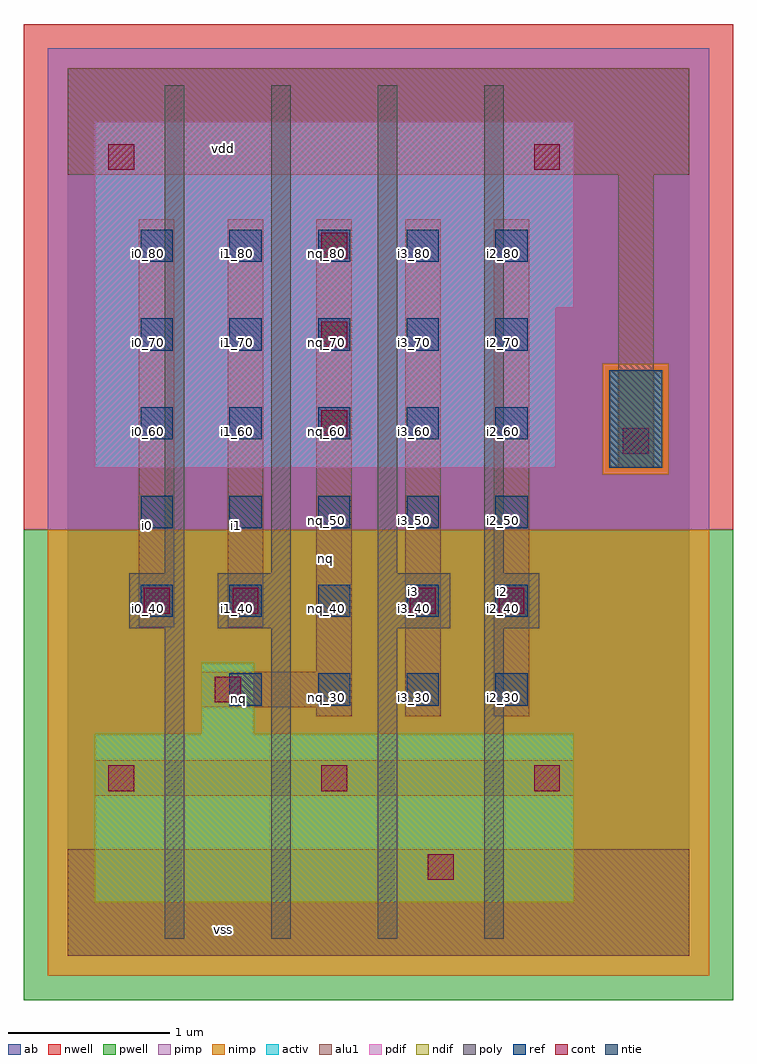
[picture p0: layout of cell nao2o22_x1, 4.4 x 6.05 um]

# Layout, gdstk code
import gdstk
lib = gdstk.Library(unit=1e-6, precision=2.5e-09)
def R(c, l, rs):  # rectangles x0, y0, x1, y1
    for r in rs: c.add(gdstk.rectangle(r[:2], r[2:], *l))
def A(c, l, x, y, w, h, nx, ny, dx, dy):  # array of equal rectangles
    R(c, l, [(x+i*dx, y+j*dy, x+i*dx+w, y+j*dy+h) for i in range(nx) for j in range(ny)])
ndif = (3, 0)
pdif = (4, 0)
ntie = (5, 0)
ref = (24, 0)
cont = (25, 0)
pwell = (41, 0)
nwell = (42, 0)
activ = (43, 0)
pimp = (44, 0)
nimp = (45, 0)
poly = (46, 0)
alu1 = (49, 0)
ab = (63, 0)

nao2o22_x1 = lib.new_cell('nao2o22_x1')
R(nao2o22_x1, ndif, [(0.165,0.33,3.135,1.375), (0.825,1.375,1.155,1.815)])
R(nao2o22_x1, pdif, [(0.165,3.025,3.025,4.015), (0.165,4.015,3.135,5.17)])
R(nao2o22_x1, ntie, [(3.355,3.025,3.685,3.63)])
A(nao2o22_x1, ref, 1, 1.55, 0.2, 0.2, 4, 1, 0.55, 0)
A(nao2o22_x1, ref, 0.45, 2.1, 0.2, 0.2, 5, 5, 0.55, 0.55)
A(nao2o22_x1, cont, 0.25, 1.02, 0.16, 0.16, 3, 1, 1.32, 0)
A(nao2o22_x1, cont, 1.57, 3.22, 0.16, 0.16, 1, 3, 0, 0.55)
R(nao2o22_x1, cont, [(2.23,0.47,2.39,0.63), (0.91,1.57,1.07,1.73), (0.47,2.12,0.63,2.28), (1.02,2.12,1.18,2.28), (2.12,2.12,2.28,2.28), (2.67,2.12,2.83,2.28), (3.44,3.11,3.6,3.27), (0.25,4.87,0.41,5.03), (2.89,4.87,3.05,5.03)])
R(nao2o22_x1, pwell, [(-0.275,-0.275,4.125,2.64)])
R(nao2o22_x1, nwell, [(-0.275,2.64,4.125,5.775)])
R(nao2o22_x1, activ, [(0.165,0.33,3.135,1.375), (0.825,1.375,1.155,1.815), (0.165,3.025,3.025,4.015), (3.355,3.025,3.685,3.63), (0.165,4.015,3.135,5.17)])
R(nao2o22_x1, pimp, [(-0.125,2.64,3.975,2.985), (-0.125,2.985,3.315,3.67), (3.725,2.985,3.975,3.67), (-0.125,3.67,3.975,5.625)])
R(nao2o22_x1, nimp, [(-0.125,-0.125,3.975,2.64), (3.315,2.985,3.725,3.67)])
A(nao2o22_x1, poly, 0.6, 0.105, 0.12, 1.925, 4, 1, 0.66, 0)
A(nao2o22_x1, poly, 0.6, 2.37, 0.12, 3.025, 4, 1, 0.66, 0)
R(nao2o22_x1, poly, [(0.38,2.03,0.72,2.37), (0.93,2.03,1.38,2.37), (1.92,2.03,2.37,2.37), (2.58,2.03,2.92,2.37)])
R(nao2o22_x1, alu1, [(0,0,3.85,0.66), (0.165,0.99,3.135,1.21), (1.54,1.485,1.76,1.54), (2.09,1.485,2.31,4.565), (2.64,1.485,2.86,4.565), (0.825,1.54,1.76,1.76), (1.54,1.76,1.76,4.565), (0.44,2.035,0.66,4.565), (0.99,2.035,1.21,4.565), (3.41,3.025,3.63,4.84), (0,4.84,3.85,5.5)])
R(nao2o22_x1, ab, [(0,0,3.85,5.5)])
nao2o22_x1.add(gdstk.Label('vss', (0.9625,0.165), layer=49, texttype=0))
nao2o22_x1.add(gdstk.Label('i2', (2.695,2.255), layer=49, texttype=0))
nao2o22_x1.add(gdstk.Label('i3', (2.145,2.255), layer=49, texttype=0))
nao2o22_x1.add(gdstk.Label('nq', (1.0575,1.595), layer=49, texttype=0))
nao2o22_x1.add(gdstk.Label('nq', (1.595,2.46), layer=49, texttype=0))
nao2o22_x1.add(gdstk.Label('i1', (1.045,2.6675), layer=49, texttype=0))
nao2o22_x1.add(gdstk.Label('i0', (0.495,2.6675), layer=49, texttype=0))
nao2o22_x1.add(gdstk.Label('vdd', (0.9625,5.005), layer=49, texttype=0))
nao2o22_x1.add(gdstk.Label('nq_30', (1.05,1.6), layer=24, texttype=0))
nao2o22_x1.add(gdstk.Label('nq_70', (1.6,3.8), layer=24, texttype=0))
nao2o22_x1.add(gdstk.Label('nq_60', (1.6,3.25), layer=24, texttype=0))
nao2o22_x1.add(gdstk.Label('nq_50', (1.6,2.7), layer=24, texttype=0))
nao2o22_x1.add(gdstk.Label('nq_40', (1.6,2.15), layer=24, texttype=0))
nao2o22_x1.add(gdstk.Label('nq_30', (1.6,1.6), layer=24, texttype=0))
nao2o22_x1.add(gdstk.Label('i2_30', (2.7,1.6), layer=24, texttype=0))
nao2o22_x1.add(gdstk.Label('i2_40', (2.7,2.15), layer=24, texttype=0))
nao2o22_x1.add(gdstk.Label('i2_50', (2.7,2.7), layer=24, texttype=0))
nao2o22_x1.add(gdstk.Label('i2_60', (2.7,3.25), layer=24, texttype=0))
nao2o22_x1.add(gdstk.Label('i2_70', (2.7,3.8), layer=24, texttype=0))
nao2o22_x1.add(gdstk.Label('i3_70', (2.15,3.8), layer=24, texttype=0))
nao2o22_x1.add(gdstk.Label('i3_60', (2.15,3.25), layer=24, texttype=0))
nao2o22_x1.add(gdstk.Label('i3_50', (2.15,2.7), layer=24, texttype=0))
nao2o22_x1.add(gdstk.Label('i3_40', (2.15,2.15), layer=24, texttype=0))
nao2o22_x1.add(gdstk.Label('i3_30', (2.15,1.6), layer=24, texttype=0))
nao2o22_x1.add(gdstk.Label('i1_40', (1.05,2.15), layer=24, texttype=0))
nao2o22_x1.add(gdstk.Label('i1_50', (1.05,2.7), layer=24, texttype=0))
nao2o22_x1.add(gdstk.Label('i1_60', (1.05,3.25), layer=24, texttype=0))
nao2o22_x1.add(gdstk.Label('i0_60', (0.5,3.25), layer=24, texttype=0))
nao2o22_x1.add(gdstk.Label('i0_50', (0.5,2.7), layer=24, texttype=0))
nao2o22_x1.add(gdstk.Label('i0_40', (0.5,2.15), layer=24, texttype=0))
nao2o22_x1.add(gdstk.Label('i0_80', (0.5,4.35), layer=24, texttype=0))
nao2o22_x1.add(gdstk.Label('i0_70', (0.5,3.8), layer=24, texttype=0))
nao2o22_x1.add(gdstk.Label('i1_70', (1.05,3.8), layer=24, texttype=0))
nao2o22_x1.add(gdstk.Label('i1_80', (1.05,4.35), layer=24, texttype=0))
nao2o22_x1.add(gdstk.Label('nq_80', (1.6,4.35), layer=24, texttype=0))
nao2o22_x1.add(gdstk.Label('i3_80', (2.15,4.35), layer=24, texttype=0))
nao2o22_x1.add(gdstk.Label('i2_80', (2.7,4.35), layer=24, texttype=0))

lib.write_gds('nao2o22_x1.gds')
